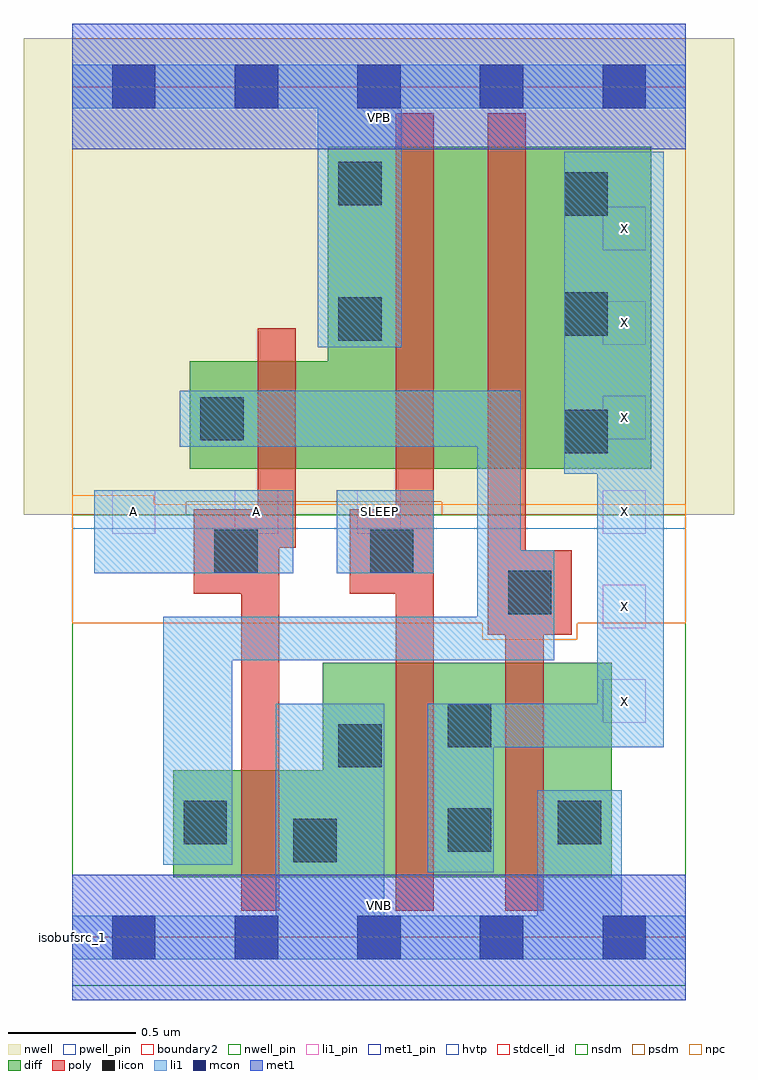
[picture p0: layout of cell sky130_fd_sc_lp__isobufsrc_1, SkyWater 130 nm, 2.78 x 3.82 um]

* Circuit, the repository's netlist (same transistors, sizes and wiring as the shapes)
* Copyright 2020 The SkyWater PDK Authors
*
* Licensed under the Apache License, Version 2.0 (the "License");
* you may not use this file except in compliance with the License.
* You may obtain a copy of the License at
*
*     https://www.apache.org/licenses/LICENSE-2.0
*
* Unless required by applicable law or agreed to in writing, software
* distributed under the License is distributed on an "AS IS" BASIS,
* WITHOUT WARRANTIES OR CONDITIONS OF ANY KIND, either express or implied.
* See the License for the specific language governing permissions and
* limitations under the License.
*
* SPDX-License-Identifier: Apache-2.0

.SUBCKT sky130_fd_sc_lp__isobufsrc_1 A SLEEP VGND VNB VPB VPWR X
*.PININFO A:I SLEEP:I VGND:I VNB:I VPB:I VPWR:I X:O
MMP0 VPWR SLEEP sndPA VPB sky130_fd_pr__pfet_01v8_hvt m=1 w=1.26U l=0.15U mult=1
+ sa=0.265 sb=0.265 sd=0.28 area=0.063 perim=1.14
MMP1 sndPA Ab X VPB sky130_fd_pr__pfet_01v8_hvt m=1 w=1.26U l=0.15U mult=1 sa=0.265
+ sb=0.265 sd=0.28 area=0.063 perim=1.14
MMIP1 Ab A VPWR VPB sky130_fd_pr__pfet_01v8_hvt m=1 w=0.42U l=0.15U mult=1 sa=0.265
+ sb=0.265 sd=0.28 area=0.063 perim=1.14
MMN0 X SLEEP VGND VNB sky130_fd_pr__nfet_01v8 m=1 w=0.84U l=0.15U mult=1 sa=0.265
+ sb=0.265 sd=0.28 area=0.063 perim=1.14
MMN1 X Ab VGND VNB sky130_fd_pr__nfet_01v8 m=1 w=0.84U l=0.15U mult=1 sa=0.265
+ sb=0.265 sd=0.28 area=0.063 perim=1.14
MMIN1 Ab A VGND VNB sky130_fd_pr__nfet_01v8 m=1 w=0.42U l=0.15U mult=1 sa=0.265
+ sb=0.265 sd=0.28 area=0.063 perim=1.14
.ENDS sky130_fd_sc_lp__isobufsrc_1

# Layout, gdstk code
import gdstk
lib = gdstk.Library(unit=1e-6, precision=1e-09)
def R(c, l, rs):  # rectangles x0, y0, x1, y1
    for r in rs: c.add(gdstk.rectangle(r[:2], r[2:], *l))
def A(c, l, x, y, w, h, nx, ny, dx, dy):  # array of equal rectangles
    R(c, l, [(x+i*dx, y+j*dy, x+i*dx+w, y+j*dy+h) for i in range(nx) for j in range(ny)])
def P(c, l, *ps):  # polygons
    for p in ps: c.add(gdstk.Polygon(p, *l))
nwell_pin = (64, 16)
nwell = (64, 20)
diff = (65, 20)
poly = (66, 20)
licon = (66, 44)
li1_pin = (67, 16)
li1 = (67, 20)
mcon = (67, 44)
met1_pin = (68, 16)
met1 = (68, 20)
hvtp = (78, 44)
stdcell_id = (81, 4)
nsdm = (93, 44)
psdm = (94, 20)
npc = (95, 20)
pwell_pin = (122, 16)
boundary2 = (236, 0)

sky130_fd_sc_lp__isobufs = lib.new_cell('sky130_fd_sc_lp__isobufsrc_1')
R(sky130_fd_sc_lp__isobufs, nwell_pin, [(0,3.085,2.4,3.33)])
R(sky130_fd_sc_lp__isobufs, nwell, [(-0.19,1.655,2.59,3.52)])
P(sky130_fd_sc_lp__isobufs, diff, [(2.11,1.075),(0.98,1.075),(0.98,0.655),(0.395,0.655),(0.395,0.235),(2.11,0.235)],
  [(2.265,3.095),(1,3.095),(1,2.255),(0.46,2.255),(0.46,1.835),(2.265,1.835)])
P(sky130_fd_sc_lp__isobufs, poly, [(0.875,2.385),(0.725,2.385),(0.725,1.675),(0.475,1.675),(0.475,1.345),(0.66,1.345),(0.66,0.105),(0.81,0.105),(0.81,1.525),(0.875,1.525)],
  [(1.415,3.225),(1.265,3.225),(1.265,1.675),(1.085,1.675),(1.085,1.345),(1.265,1.345),(1.265,0.105),(1.415,0.105)],
  [(1.955,1.515),(1.775,1.515),(1.775,3.225),(1.625,3.225),(1.625,1.185),(1.695,1.185),(1.695,0.105),(1.845,0.105),(1.845,1.185),(1.955,1.185)])
R(sky130_fd_sc_lp__isobufs, licon, [(0.865,0.295,1.035,0.465), (1.47,0.335,1.64,0.505), (0.435,0.365,0.605,0.535), (1.9,0.365,2.07,0.535), (1.04,0.665,1.21,0.835), (1.47,0.745,1.64,0.915), (1.705,1.265,1.875,1.435), (0.555,1.425,0.725,1.595), (1.165,1.425,1.335,1.595), (1.925,1.895,2.095,2.065), (0.5,1.945,0.67,2.115), (1.04,2.335,1.21,2.505), (1.925,2.355,2.095,2.525), (1.925,2.825,2.095,2.995), (1.04,2.865,1.21,3.035)])
A(sky130_fd_sc_lp__isobufs, li1_pin, 2.075, 0.84, 0.17, 0.17, 1, 6, 0, 0.37)
A(sky130_fd_sc_lp__isobufs, li1_pin, 0.155, 1.58, 0.17, 0.17, 3, 1, 0.48, 0)
R(sky130_fd_sc_lp__isobufs, li1, [(0.085,1.425,0.865,1.75), (1.035,1.425,1.415,1.75)])
P(sky130_fd_sc_lp__isobufs, li1, [(0.96,2.31),(0.96,3.245),(0,3.245),(0,3.415),(2.4,3.415),(2.4,3.245),(1.29,3.245),(1.29,2.31)],
  [(1.82,0.085),(1.82,0.575),(2.15,0.575),(2.15,0.085),(2.4,0.085),(2.4,-0.085),(0,-0.085),(0,0.085),(0.795,0.085),(0.795,0.915),(1.22,0.915),(1.22,0.085)],
  [(2.315,3.075),(1.925,3.075),(1.925,1.815),(2.055,1.815),(2.055,0.915),(1.39,0.915),(1.39,0.255),(1.65,0.255),(1.65,0.745),(2.315,0.745)],
  [(1.885,1.515),(1.755,1.515),(1.755,2.14),(0.42,2.14),(0.42,1.92),(1.585,1.92),(1.585,1.255),(0.355,1.255),(0.355,0.285),(0.625,0.285),(0.625,1.085),(1.885,1.085)])
A(sky130_fd_sc_lp__isobufs, mcon, 0.155, -0.085, 0.17, 0.17, 5, 2, 0.48, 3.33)
R(sky130_fd_sc_lp__isobufs, met1_pin, [(0,0,2.4,0.245), (0,3.085,2.4,3.33)])
R(sky130_fd_sc_lp__isobufs, met1, [(0,-0.245,2.4,0.245), (0,3.085,2.4,3.575)])
R(sky130_fd_sc_lp__isobufs, hvtp, [(0,1.6,2.4,3.33)])
R(sky130_fd_sc_lp__isobufs, stdcell_id, [(0,0,2.4,3.33)])
R(sky130_fd_sc_lp__isobufs, nsdm, [(0,-0.19,2.4,1.655)])
P(sky130_fd_sc_lp__isobufs, psdm, [(2.4,3.52),(0,3.52),(0,1.655),(0.445,1.655),(0.445,1.705),(1.445,1.705),(1.445,1.655),(2.4,1.655)])
P(sky130_fd_sc_lp__isobufs, npc, [(2.4,1.695),(0.32,1.695),(0.32,1.73),(0,1.73),(0,1.23),(1.605,1.23),(1.605,1.165),(1.975,1.165),(1.975,1.23),(2.4,1.23)])
R(sky130_fd_sc_lp__isobufs, pwell_pin, [(0,0,2.4,0.245)])
R(sky130_fd_sc_lp__isobufs, boundary2, [(0,0,2.4,3.33)])
sky130_fd_sc_lp__isobufs.add(gdstk.Label('VNB', (1.2,0.123), layer=64, texttype=59))
sky130_fd_sc_lp__isobufs.add(gdstk.Label('VPB', (1.2,3.208), layer=64, texttype=5))
sky130_fd_sc_lp__isobufs.add(gdstk.Label('isobufsrc_1', (0,0), layer=83, texttype=44))
sky130_fd_sc_lp__isobufs.add(gdstk.Label('VPWR', (1.2,3.208), layer=68, texttype=5))
sky130_fd_sc_lp__isobufs.add(gdstk.Label('VGND', (1.2,0.123), layer=68, texttype=5))
sky130_fd_sc_lp__isobufs.add(gdstk.Label('SLEEP', (1.2,1.665), layer=67, texttype=5))
sky130_fd_sc_lp__isobufs.add(gdstk.Label('X', (2.16,0.925), layer=67, texttype=5))
sky130_fd_sc_lp__isobufs.add(gdstk.Label('X', (2.16,1.295), layer=67, texttype=5))
sky130_fd_sc_lp__isobufs.add(gdstk.Label('X', (2.16,1.665), layer=67, texttype=5))
sky130_fd_sc_lp__isobufs.add(gdstk.Label('X', (2.16,2.035), layer=67, texttype=5))
sky130_fd_sc_lp__isobufs.add(gdstk.Label('X', (2.16,2.405), layer=67, texttype=5))
sky130_fd_sc_lp__isobufs.add(gdstk.Label('X', (2.16,2.775), layer=67, texttype=5))
sky130_fd_sc_lp__isobufs.add(gdstk.Label('A', (0.24,1.665), layer=67, texttype=5))
sky130_fd_sc_lp__isobufs.add(gdstk.Label('A', (0.72,1.665), layer=67, texttype=5))

lib.write_gds('sky130_fd_sc_lp__isobufsrc_1.gds')
